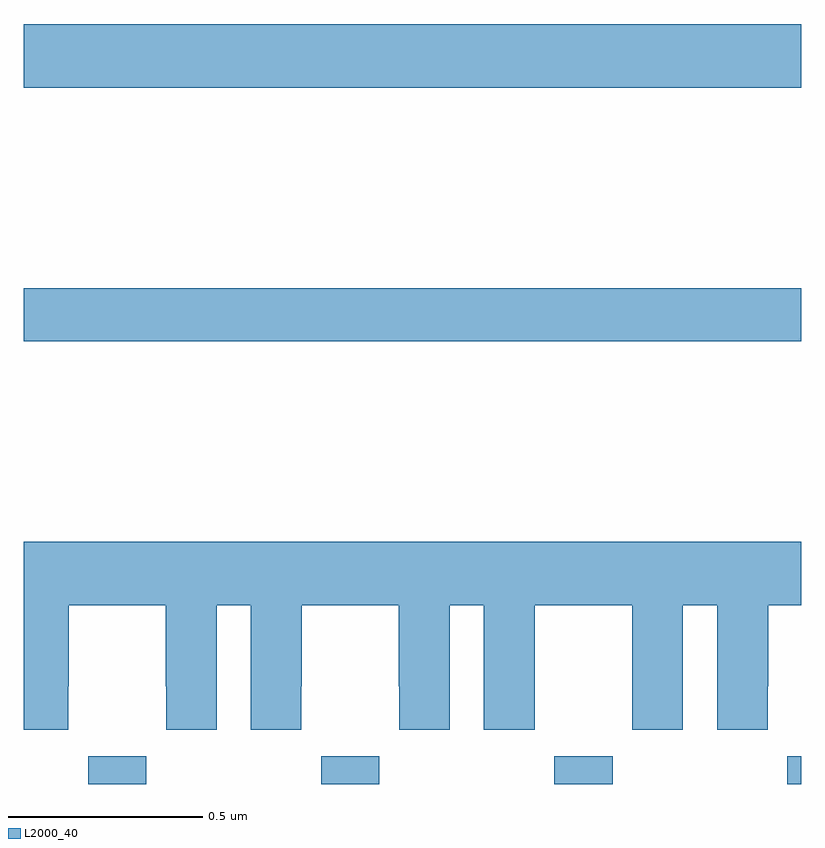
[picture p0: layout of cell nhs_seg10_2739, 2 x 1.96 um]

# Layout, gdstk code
import gdstk
lib = gdstk.Library(unit=1e-6, precision=1e-09)
def R(c, l, rs):  # rectangles x0, y0, x1, y1
    for r in rs: c.add(gdstk.rectangle(r[:2], r[2:], *l))
def A(c, l, x, y, w, h, nx, ny, dx, dy):  # array of equal rectangles
    R(c, l, [(x+i*dx, y+j*dy, x+i*dx+w, y+j*dy+h) for i in range(nx) for j in range(ny)])
def P(c, l, *ps):  # polygons
    for p in ps: c.add(gdstk.Polygon(p, *l))
L2000_40 = (2000, 40)

nhs_seg10_2739 = lib.new_cell('nhs_seg10_2739')
A(nhs_seg10_2739, L2000_40, 144.165, 1322.5, 0.15, 0.072, 3, 1, 0.6, 0)
R(nhs_seg10_2739, L2000_40, [(145.965,1322.5,146,1322.572), (144,1323.64,146,1323.776), (144,1324.292,146,1324.456)])
P(nhs_seg10_2739, L2000_40, [(144,1322.64),(144.114,1322.64),(144.114,1322.752),(144.115,1322.752),(144.115,1322.96),(144.365,1322.96),(144.365,1322.752),(144.366,1322.752),(144.366,1322.64),(144.496,1322.64),(144.496,1322.96),(144.584,1322.96),(144.584,1322.64),(144.714,1322.64),(144.714,1322.752),(144.715,1322.752),(144.715,1322.96),(144.965,1322.96),(144.965,1322.752),(144.966,1322.752),(144.966,1322.64),(145.096,1322.64),(145.096,1322.96),(145.184,1322.96),(145.184,1322.64),(145.314,1322.64),(145.314,1322.752),(145.315,1322.752),(145.315,1322.96),(145.565,1322.96),(145.565,1322.752),(145.566,1322.752),(145.566,1322.64),(145.696,1322.64),(145.696,1322.96),(145.784,1322.96),(145.784,1322.64),(145.914,1322.64),(145.914,1322.752),(145.915,1322.752),(145.915,1322.96),(146,1322.96),(146,1323.124),(144,1323.124)])

lib.write_gds('nhs_seg10_2739.gds')
